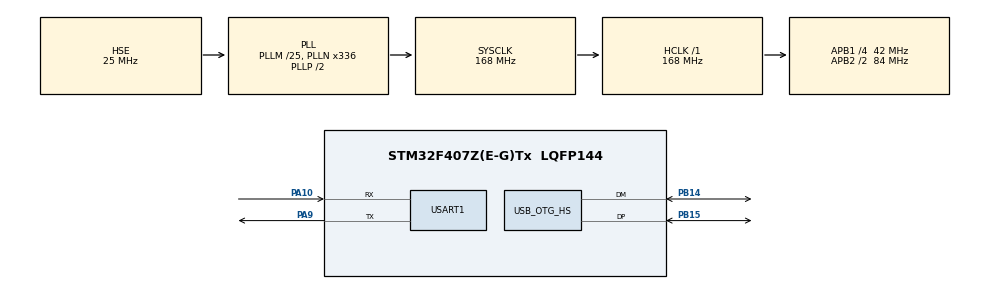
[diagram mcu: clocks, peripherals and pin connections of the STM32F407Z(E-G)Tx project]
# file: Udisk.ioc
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Mcu.Family=STM32F4
Mcu.Name=STM32F407Z(E-G)Tx
Mcu.Package=LQFP144
NVIC.OTG_HS_IRQn=true\:0\:0\:false\:false\:true\:true\:true
NVIC.PriorityGroup=NVIC_PRIORITYGROUP_4
PA10.Mode=Asynchronous
PA10.Signal=USART1_RX
PA9.Mode=Asynchronous
PA9.Signal=USART1_TX
PB14.Mode=Host_FS
PB14.Signal=USB_OTG_HS_DM
PB15.Mode=Host_FS
PB15.Signal=USB_OTG_HS_DP
PH0-OSC_IN.Mode=HSE-External-Oscillator
PH0-OSC_IN.Signal=RCC_OSC_IN
PH1-OSC_OUT.Mode=HSE-External-Oscillator
PH1-OSC_OUT.Signal=RCC_OSC_OUT
ProjectManager.HeapSize=0x200
ProjectManager.StackSize=0x400
ProjectManager.TargetToolchain=MDK-ARM V5
RCC.48MHZClocksFreq_Value=48000000
RCC.AHBFreq_Value=168000000
RCC.APB1CLKDivider=RCC_HCLK_DIV4
RCC.APB1Freq_Value=42000000
RCC.APB1TimFreq_Value=84000000
RCC.APB2CLKDivider=RCC_HCLK_DIV2
RCC.APB2Freq_Value=84000000
RCC.APB2TimFreq_Value=168000000
RCC.CortexFreq_Value=168000000
RCC.HCLKFreq_Value=168000000
RCC.HSE_VALUE=25000000
RCC.HSI_VALUE=16000000
RCC.LSE_VALUE=32768
RCC.PLLM=25
RCC.PLLN=336
RCC.PLLQ=7
RCC.SYSCLKFreq_VALUE=168000000
RCC.SYSCLKSource=RCC_SYSCLKSOURCE_PLLCLK
RCC.VCOOutputFreq_Value=336000000
USART1.VirtualMode=VM_ASYNC
USB_HOST.USBH_HandleTypeDef-MSC_HS=hUsbHostHS
USB_HOST.VirtualModeHS=Msc
USB_OTG_HS.VirtualMode-Host_FS=Host_FS
VP_FATFS_VS_USB.Mode=USB
VP_USB_HOST_VS_USB_HOST_MSC_HS.Mode=MSC_HS
board=custom

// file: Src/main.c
/* USER CODE BEGIN Header */
/**
  ******************************************************************************
  * @file           : main.c
  * @brief          : Main program body
  ******************************************************************************
  * @attention
  *
  * <h2><center>&copy; Copyright (c) 2019 STMicroelectronics.
  * All rights reserved.</center></h2>
  *
  * This software component is licensed by ST under Ultimate Liberty license
  * SLA0044, the "License"; You may not use this file except in compliance with
  * the License. You may obtain a copy of the License at:
  *                             www.st.com/SLA0044
  *
  ******************************************************************************
  */
/* USER CODE END Header */

#include "main.h"
#include "fatfs.h"
#include "usb_host.h"

UART_HandleTypeDef huart1;

/* USER CODE BEGIN PV */
#ifdef __GNUC__
#define PUTCHAR_PROTOTYPE int __io_putchar(int ch)
#else
#define PUTCHAR_PROTOTYPE int fputc(int ch, FILE *f)
#endif
PUTCHAR_PROTOTYPE
{
    //具体哪个串口可以更改huart1为其它串口
    HAL_UART_Transmit(&huart1 , (uint8_t *)&ch, 1 , 0xffff);
    return ch;
}
/*
#ifdef __GNUC__
#define PUTCHAR_PROTOTYPEE int __io_putchar(int ch)
#else
#define PUTCHAR_PROTOTYPEE int fputc(int ch, FILE *f)
#endif
PUTCHAR_PROTOTYPEE
{
    //具体哪个串口可以更改USART1为其它串口
    while ((USART1->SR & 0X40) == 0); //循环发送,直到发送完毕
    USART1->DR = (uint8_t) ch;
    return ch;
}
*/
/* USER CODE END PV */

void SystemClock_Config(void);
static void MX_GPIO_Init(void);
static void MX_USART1_UART_Init(void);
void MX_USB_HOST_Process(void);

/* USER CODE BEGIN PFP */
FATFS fs;
FIL fnew;
FRESULT res_flash;
/* USER CODE END PFP */

/* USER CODE BEGIN 0 */
char scan_path[64] = "0:";
static FRESULT scan_files (char* path)
{
  FRESULT res; 		//部分在递归过程被修改的变量，不用全局变量
  FILINFO fno;
  DIR dir;
  int i;
  char *fn;        // 文件名

#if _USE_LFN
  /* 长文件名支持 */
  /* 简体中文需要2个字节保存一个“字”*/
  static char lfn[_MAX_LFN*2 + 1];
  fno.lfname = lfn;
  fno.lfsize = sizeof(lfn);
#endif
  //打开目录
  res = f_opendir(&dir, path);
  if (res == FR_OK)
	{
    i = strlen(path);
    for (;;)
		{
      //读取目录下的内容，再读会自动读下一个文件
      res = f_readdir(&dir, &fno);
      //为空时表示所有项目读取完毕，跳出
      if (res != FR_OK || fno.fname[0] == 0) break;
#if _USE_LFN
      fn = *fno.lfname ? fno.lfname : fno.fname;
#else
      fn = fno.fname;
#endif
      //点表示当前目录，跳过
      if (*fn == '.') continue;
      //目录，递归读取
      if (fno.fattrib & AM_DIR)
			{
        //合成完整目录名
        sprintf(&path[i], "/%s", fn);
        //递归遍历
        res = scan_files(path);
        path[i] = 0;
        //打开失败，跳出循环
        if (res != FR_OK)
					break;
      }
			else
			{
				printf("%s/%s\r\n", path, fn);								//输出文件名
        /* 可以在这里提取特定格式的文件路径 */
      }//else
    } //for
  }
  return res;
}
/* USER CODE END 0 */

int main(void)
{

  /* MCU Configuration--------------------------------------------------------*/

  /* Reset of all peripherals, Initializes the Flash interface and the Systick. */
  HAL_Init();

  /* Configure the system clock */
  SystemClock_Config();

  /* Initialize all configured peripherals */
  MX_GPIO_Init();
  MX_USART1_UART_Init();
  MX_FATFS_Init();
  MX_USB_HOST_Init();
  /* USER CODE BEGIN 2 */
	res_flash=f_mount(&fs,"1:",1);
	if(res_flash==0)
		HAL_UART_Transmit(&huart1,"error",5,500);
	scan_files(scan_path);
  /* USER CODE END 2 */

  /* Infinite loop */
  while (1)
  {
    MX_USB_HOST_Process();

  }
}

void SystemClock_Config(void)
{
  RCC_OscInitTypeDef RCC_OscInitStruct = {0};
  RCC_ClkInitTypeDef RCC_ClkInitStruct = {0};

  /** Configure the main internal regulator output voltage
  */
  __HAL_RCC_PWR_CLK_ENABLE();
  __HAL_PWR_VOLTAGESCALING_CONFIG(PWR_REGULATOR_VOLTAGE_SCALE1);
  /** Initializes the CPU, AHB and APB busses clocks
  */
  RCC_OscInitStruct.OscillatorType = RCC_OSCILLATORTYPE_HSE;
  RCC_OscInitStruct.HSEState = RCC_HSE_ON;
  RCC_OscInitStruct.PLL.PLLState = RCC_PLL_ON;
  RCC_OscInitStruct.PLL.PLLSource = RCC_PLLSOURCE_HSE;
  RCC_OscInitStruct.PLL.PLLM = 25;
  RCC_OscInitStruct.PLL.PLLN = 336;
  RCC_OscInitStruct.PLL.PLLP = RCC_PLLP_DIV2;
  RCC_OscInitStruct.PLL.PLLQ = 7;
  if (HAL_RCC_OscConfig(&RCC_OscInitStruct) != HAL_OK)
  {
    Error_Handler();
  }
  /** Initializes the CPU, AHB and APB busses clocks
  */
  RCC_ClkInitStruct.ClockType = RCC_CLOCKTYPE_HCLK|RCC_CLOCKTYPE_SYSCLK
                              |RCC_CLOCKTYPE_PCLK1|RCC_CLOCKTYPE_PCLK2;
  RCC_ClkInitStruct.SYSCLKSource = RCC_SYSCLKSOURCE_PLLCLK;
  RCC_ClkInitStruct.AHBCLKDivider = RCC_SYSCLK_DIV1;
  RCC_ClkInitStruct.APB1CLKDivider = RCC_HCLK_DIV4;
  RCC_ClkInitStruct.APB2CLKDivider = RCC_HCLK_DIV2;

  if (HAL_RCC_ClockConfig(&RCC_ClkInitStruct, FLASH_LATENCY_5) != HAL_OK)
  {
    Error_Handler();
  }
}

static void MX_USART1_UART_Init(void)
{

  huart1.Instance = USART1;
  huart1.Init.BaudRate = 115200;
  huart1.Init.WordLength = UART_WORDLENGTH_8B;
  huart1.Init.StopBits = UART_STOPBITS_1;
  huart1.Init.Parity = UART_PARITY_NONE;
  huart1.Init.Mode = UART_MODE_TX_RX;
  huart1.Init.HwFlowCtl = UART_HWCONTROL_NONE;
  huart1.Init.OverSampling = UART_OVERSAMPLING_16;
  if (HAL_UART_Init(&huart1) != HAL_OK)
  {
    Error_Handler();
  }

}

static void MX_GPIO_Init(void)
{

  /* GPIO Ports Clock Enable */
  __HAL_RCC_GPIOH_CLK_ENABLE();
  __HAL_RCC_GPIOB_CLK_ENABLE();
  __HAL_RCC_GPIOA_CLK_ENABLE();

}

void Error_Handler(void)
{
}

/************************ (C) COPYRIGHT STMicroelectronics *****END OF FILE****/
